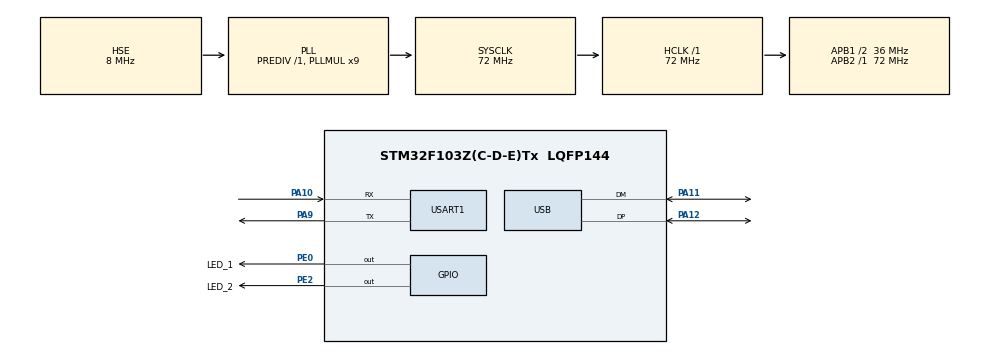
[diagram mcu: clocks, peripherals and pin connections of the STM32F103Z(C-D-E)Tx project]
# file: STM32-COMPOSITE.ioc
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Mcu.Family=STM32F1
Mcu.Name=STM32F103Z(C-D-E)Tx
Mcu.Package=LQFP144
NVIC.PriorityGroup=NVIC_PRIORITYGROUP_4
NVIC.TIM7_IRQn=true\:0\:0\:false\:false\:true
NVIC.USART1_IRQn=true\:0\:0\:false\:false\:true
NVIC.USB_LP_CAN1_RX0_IRQn=true\:0\:0\:false\:false\:true
OSC_IN.Mode=HSE-External-Oscillator
OSC_IN.Signal=RCC_OSC_IN
OSC_OUT.Mode=HSE-External-Oscillator
OSC_OUT.Signal=RCC_OSC_OUT
PA10.Mode=Asynchronous
PA10.Signal=USART1_RX
PA11.Mode=Device
PA11.Signal=USB_DM
PA12.Mode=Device
PA12.Signal=USB_DP
PA13.Mode=Serial_Wire
PA13.Signal=SYS_JTMS-SWDIO
PA14.Mode=Serial_Wire
PA14.Signal=SYS_JTCK-SWCLK
PA9.Mode=Asynchronous
PA9.Signal=USART1_TX
PC14-OSC32_IN.Mode=LSE-External-Oscillator
PC14-OSC32_IN.Signal=RCC_OSC32_IN
PC15-OSC32_OUT.Mode=LSE-External-Oscillator
PC15-OSC32_OUT.Signal=RCC_OSC32_OUT
PE0.GPIO_Label=LED_1
PE0.Signal=GPIO_Output
PE2.GPIO_Label=LED_2
PE2.Signal=GPIO_Output
ProjectManager.HeapSize=0x200
ProjectManager.StackSize=0x400
ProjectManager.TargetToolchain=TrueSTUDIO
RCC.AHBFreq_Value=72000000
RCC.APB1CLKDivider=RCC_HCLK_DIV2
RCC.APB1Freq_Value=36000000
RCC.APB1TimFreq_Value=72000000
RCC.APB2Freq_Value=72000000
RCC.APB2TimFreq_Value=72000000
RCC.HCLKFreq_Value=72000000
RCC.HSIState=RCC_HSI_ON
RCC.PLLMUL=RCC_PLL_MUL9
RCC.PLLSourceVirtual=RCC_PLLSOURCE_HSE
RCC.SYSCLKFreq_VALUE=72000000
RCC.SYSCLKSource=RCC_SYSCLKSOURCE_PLLCLK
RCC.USBFreq_Value=48000000
RCC.USBPrescaler=RCC_USBCLKSOURCE_PLL_DIV1_5
TIM7.Period=1098
TIM7.Prescaler=65535
USB.ep0_mps=DEP0CTL_MPS_64
USB_DEVICE.USBD_CUSTOMHID_OUTREPORT_BUF_SIZE=10
USB_DEVICE.USBD_CUSTOM_HID_REPORT_DESC_SIZE=10
USB_DEVICE.USBD_DEBUG_LEVEL=3
USB_DEVICE.USBD_HandleTypeDef=hUsbDeviceFS
USB_DEVICE.USBD_MAX_NUM_INTERFACES=5
USB_DEVICE.VirtualMode=CustomHid
USB_DEVICE.VirtualModeFS=Custom_Hid_FS
VP_TIM7_VS_ClockSourceINT.Mode=Enable_Timer
VP_USB_DEVICE_VS_USB_DEVICE_CUSTOM_HID_FS.Mode=CUSTOM_HID_FS
board=STM32-COMPOSITE

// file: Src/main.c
/**
  ******************************************************************************
  * File Name          : main.c
  * Description        : Main program body
  ******************************************************************************
  *
  * COPYRIGHT(c) 2016 STMicroelectronics
  *
  * Redistribution and use in source and binary forms, with or without modification,
  * are permitted provided that the following conditions are met:
  *   1. Redistributions of source code must retain the above copyright notice,
  *      this list of conditions and the following disclaimer.
  *   2. Redistributions in binary form must reproduce the above copyright notice,
  *      this list of conditions and the following disclaimer in the documentation
  *      and/or other materials provided with the distribution.
  *   3. Neither the name of STMicroelectronics nor the names of its contributors
  *      may be used to endorse or promote products derived from this software
  *      without specific prior written permission.
  *
  * THIS SOFTWARE IS PROVIDED BY THE COPYRIGHT HOLDERS AND CONTRIBUTORS "AS IS"
  * AND ANY EXPRESS OR IMPLIED WARRANTIES, INCLUDING, BUT NOT LIMITED TO, THE
  * IMPLIED WARRANTIES OF MERCHANTABILITY AND FITNESS FOR A PARTICULAR PURPOSE ARE
  * DISCLAIMED. IN NO EVENT SHALL THE COPYRIGHT HOLDER OR CONTRIBUTORS BE LIABLE
  * FOR ANY DIRECT, INDIRECT, INCIDENTAL, SPECIAL, EXEMPLARY, OR CONSEQUENTIAL
  * DAMAGES (INCLUDING, BUT NOT LIMITED TO, PROCUREMENT OF SUBSTITUTE GOODS OR
  * SERVICES; LOSS OF USE, DATA, OR PROFITS; OR BUSINESS INTERRUPTION) HOWEVER
  * CAUSED AND ON ANY THEORY OF LIABILITY, WHETHER IN CONTRACT, STRICT LIABILITY,
  * OR TORT (INCLUDING NEGLIGENCE OR OTHERWISE) ARISING IN ANY WAY OUT OF THE USE
  * OF THIS SOFTWARE, EVEN IF ADVISED OF THE POSSIBILITY OF SUCH DAMAGE.
  *
  ******************************************************************************
  */
#include "stm32f1xx_hal.h"
#include "usb_device.h"

/* USER CODE BEGIN Includes */
#include <stdarg.h>

#include "usbd_hid_cdc.h"
#include "usbd_cdc_if.h"
/* USER CODE END Includes */

TIM_HandleTypeDef htim7;

UART_HandleTypeDef huart1;

/* USER CODE BEGIN PV */
/* Private variables ---------------------------------------------------------*/
static struct {
	uint8_t		id;			// 0x01
	uint8_t		buttons;	// red + black
	uint8_t		gears;		// 1-7 (reverse)
	uint8_t		d_pad;		// lower 4 bits
	uint16_t	axis[3];
} report;

static volatile uint32_t u100ticks = 0;

/* USER CODE END PV */

void SystemClock_Config(void);
void Error_Handler(void);
static void MX_GPIO_Init(void);
static void MX_USART1_UART_Init(void);
static void MX_TIM7_Init(void);

/* USER CODE BEGIN PFP */
/* Private function prototypes -----------------------------------------------*/
void utx(uint8_t *buf, uint32_t length);
/* USER CODE END PFP */

/* USER CODE BEGIN 0 */
uint8_t read_buffer[128];
uint8_t *readptr = read_buffer;

/* USER CODE END 0 */

int main(void)
{

  /* MCU Configuration----------------------------------------------------------*/

  /* Reset of all peripherals, Initializes the Flash interface and the Systick. */
  HAL_Init();

  /* Configure the system clock */
  SystemClock_Config();

  /* Initialize all configured peripherals */
  MX_GPIO_Init();

  HAL_GPIO_WritePin(GPIOE, LED_1_Pin, GPIO_PIN_SET);
  HAL_GPIO_WritePin(GPIOE, LED_2_Pin, GPIO_PIN_SET);

  MX_USART1_UART_Init();

  HAL_GPIO_WritePin(GPIOE, LED_1_Pin, GPIO_PIN_RESET);

  MX_USB_DEVICE_Init();

  HAL_GPIO_WritePin(GPIOE, LED_2_Pin, GPIO_PIN_RESET);
  MX_TIM7_Init();

  /* Infinite loop */
  /* USER CODE BEGIN WHILE */

  uint32_t ticks = HAL_GetTick();

  while (1)
  {
  /* USER CODE END WHILE */

  /* USER CODE BEGIN 3 */
	  if ((huart1.State & 0x20) == 0 ) {

		  readptr = read_buffer;
	      HAL_UART_Receive_IT(&huart1, read_buffer, sizeof(read_buffer));

  	  } else if ((huart1.State & 0x10) == 0) {

  		if (huart1.pRxBuffPtr > readptr) {

  			// HAL_UART_Transmit_IT(&huart1, readptr, huart1.pRxBuffPtr > readptr);
  			utx(readptr, huart1.pRxBuffPtr > readptr);
  			readptr = huart1.pRxBuffPtr;
  		}
  	  }

	  uint32_t c_tick = HAL_GetTick();

	  report.id = 0x01;
	  report.buttons = (c_tick / 1000) & 0xff;
	  report.d_pad = ((c_tick / 1000) >> 8) & 0xff;;
	  report.gears = 0;
	  report.axis[0] = 0;
	  report.axis[1] = 0;
	  report.axis[2] = 0;

	  if (c_tick >= ticks + 500) { // 0.5s
		  ticks = c_tick;

		  HAL_TIM_Base_Start_IT(&htim7);
		  HAL_GPIO_TogglePin(GPIOE, LED_2_Pin);
	  }

	  if (u100ticks >= 2000) { // 0.2s
		  HAL_TIM_Base_Stop_IT(&htim7);
		  u100ticks = 0;

		  HAL_GPIO_TogglePin(GPIOE, LED_1_Pin);
	  }

	  USBD_HID_SendReport(&hUsbDeviceFS, (uint8_t *)&report, sizeof(report));
  }
  /* USER CODE END 3 */

}

/** System Clock Configuration
*/
void SystemClock_Config(void)
{

  RCC_OscInitTypeDef RCC_OscInitStruct;
  RCC_ClkInitTypeDef RCC_ClkInitStruct;
  RCC_PeriphCLKInitTypeDef PeriphClkInit;

  RCC_OscInitStruct.OscillatorType = RCC_OSCILLATORTYPE_HSE;
  RCC_OscInitStruct.HSEState = RCC_HSE_ON;
  RCC_OscInitStruct.HSEPredivValue = RCC_HSE_PREDIV_DIV1;
  RCC_OscInitStruct.PLL.PLLState = RCC_PLL_ON;
  RCC_OscInitStruct.PLL.PLLSource = RCC_PLLSOURCE_HSE;
  RCC_OscInitStruct.PLL.PLLMUL = RCC_PLL_MUL9;
  if (HAL_RCC_OscConfig(&RCC_OscInitStruct) != HAL_OK)
  {
    Error_Handler();
  }

  RCC_ClkInitStruct.ClockType = RCC_CLOCKTYPE_HCLK|RCC_CLOCKTYPE_SYSCLK
                              |RCC_CLOCKTYPE_PCLK1|RCC_CLOCKTYPE_PCLK2;
  RCC_ClkInitStruct.SYSCLKSource = RCC_SYSCLKSOURCE_PLLCLK;
  RCC_ClkInitStruct.AHBCLKDivider = RCC_SYSCLK_DIV1;
  RCC_ClkInitStruct.APB1CLKDivider = RCC_HCLK_DIV2;
  RCC_ClkInitStruct.APB2CLKDivider = RCC_HCLK_DIV1;
  if (HAL_RCC_ClockConfig(&RCC_ClkInitStruct, FLASH_LATENCY_2) != HAL_OK)
  {
    Error_Handler();
  }

  PeriphClkInit.PeriphClockSelection = RCC_PERIPHCLK_USB;
  PeriphClkInit.UsbClockSelection = RCC_USBCLKSOURCE_PLL_DIV1_5;
  if (HAL_RCCEx_PeriphCLKConfig(&PeriphClkInit) != HAL_OK)
  {
    Error_Handler();
  }

  HAL_SYSTICK_Config(HAL_RCC_GetHCLKFreq()/1000);

  HAL_SYSTICK_CLKSourceConfig(SYSTICK_CLKSOURCE_HCLK);

  /* SysTick_IRQn interrupt configuration */
  HAL_NVIC_SetPriority(SysTick_IRQn, 0, 0);
}

/* TIM7 init function */
static void MX_TIM7_Init(void)
{

  TIM_MasterConfigTypeDef sMasterConfig;

  htim7.Instance = TIM7;
  htim7.Init.Prescaler = 720; // 100k times per second
  htim7.Init.CounterMode = TIM_COUNTERMODE_UP;
  htim7.Init.Period = 10; // get interrupt 10k times per second
  if (HAL_TIM_Base_Init(&htim7) != HAL_OK)
  {
    Error_Handler();
  }

  sMasterConfig.MasterOutputTrigger = TIM_TRGO_RESET;
  sMasterConfig.MasterSlaveMode = TIM_MASTERSLAVEMODE_DISABLE;
  if (HAL_TIMEx_MasterConfigSynchronization(&htim7, &sMasterConfig) != HAL_OK)
  {
    Error_Handler();
  }

}

/* USART1 init function */
static void MX_USART1_UART_Init(void)
{

  huart1.Instance = USART1;
  huart1.Init.BaudRate = 115200;
  huart1.Init.WordLength = UART_WORDLENGTH_8B;
  huart1.Init.StopBits = UART_STOPBITS_1;
  huart1.Init.Parity = UART_PARITY_NONE;
  huart1.Init.Mode = UART_MODE_TX_RX;
  huart1.Init.HwFlowCtl = UART_HWCONTROL_NONE;
  huart1.Init.OverSampling = UART_OVERSAMPLING_16;
  if (HAL_UART_Init(&huart1) != HAL_OK)
  {
    Error_Handler();
  }

}

/** Configure pins as
        * Analog
        * Input
        * Output
        * EVENT_OUT
        * EXTI
*/
static void MX_GPIO_Init(void)
{

  GPIO_InitTypeDef GPIO_InitStruct;

  /* GPIO Ports Clock Enable */
  __HAL_RCC_GPIOE_CLK_ENABLE();
  __HAL_RCC_GPIOC_CLK_ENABLE();
  __HAL_RCC_GPIOA_CLK_ENABLE();

  /*Configure GPIO pin Output Level */
  HAL_GPIO_WritePin(GPIOE, LED_2_Pin|LED_1_Pin, GPIO_PIN_RESET);

  /*Configure GPIO pins : LED_2_Pin LED_1_Pin */
  GPIO_InitStruct.Pin = LED_2_Pin|LED_1_Pin;
  GPIO_InitStruct.Mode = GPIO_MODE_OUTPUT_PP;
  GPIO_InitStruct.Speed = GPIO_SPEED_FREQ_LOW;
  HAL_GPIO_Init(GPIOE, &GPIO_InitStruct);

}

/* USER CODE BEGIN 4 */
void HAL_UART_RxCpltCallback(UART_HandleTypeDef *huart)
{
	if (huart->Instance == USART1)
	{
	}
}

void utx(uint8_t *buf, uint32_t length) {

	HAL_UART_Transmit_IT(&huart1, buf, length);
//	CDC_Transmit_FS((uint8_t *)buf, length);
}

void HAL_TIM_PeriodElapsedCallback(TIM_HandleTypeDef *htim)
{
	if (htim->Instance == TIM7) {
		// HAL_GPIO_TogglePin(GPIOE, LED_1_Pin);
		u100ticks++;
	}
}
/* USER CODE END 4 */

void Error_Handler(void)
{
  /* USER CODE BEGIN Error_Handler */
  /* User can add his own implementation to report the HAL error return state */
  uint32_t ticks = 0;

//  while(1)
//  {
//	  uint32_t c_tick = HAL_GetTick();
//
//      if (c_tick >= ticks + 200) {
//    	  ticks = c_tick;
//
//    	  HAL_GPIO_TogglePin(GPIOE, LED_1_Pin);
//      }
//  }
  /* USER CODE END Error_Handler */
}

/************************ (C) COPYRIGHT STMicroelectronics *****END OF FILE****/
